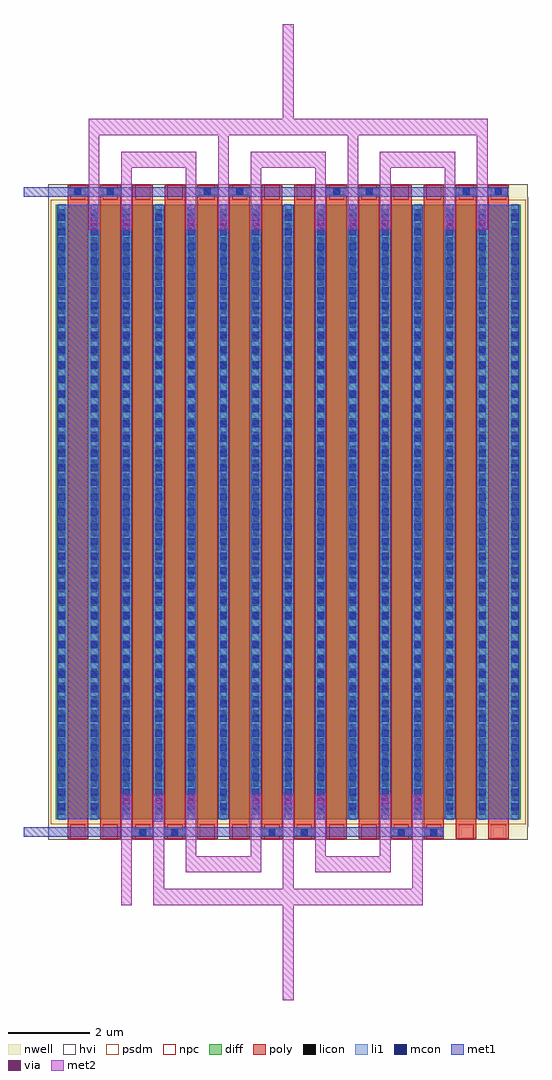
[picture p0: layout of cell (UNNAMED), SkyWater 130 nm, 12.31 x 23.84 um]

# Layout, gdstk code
import gdstk
lib = gdstk.Library(unit=1e-6, precision=1e-09)
def R(c, l, rs):  # rectangles x0, y0, x1, y1
    for r in rs: c.add(gdstk.rectangle(r[:2], r[2:], *l))
def A(c, l, x, y, w, h, nx, ny, dx, dy):  # array of equal rectangles
    R(c, l, [(x+i*dx, y+j*dy, x+i*dx+w, y+j*dy+h) for i in range(nx) for j in range(ny)])
nwell = (64, 20)
diff = (65, 20)
poly = (66, 20)
licon = (66, 44)
li1 = (67, 20)
mcon = (67, 44)
met1 = (68, 20)
via = (68, 44)
met2 = (69, 20)
hvi = (75, 20)
psdm = (94, 20)
npc = (95, 20)

c__unnamed_ = lib.new_cell('(UNNAMED)')
R(c__unnamed_, nwell, [(0,0,11.71,16)])
R(c__unnamed_, diff, [(0.18,0.5,11.53,15.5)])
A(c__unnamed_, poly, 0.47, 0.015, 0.5, 15.97, 14, 1, 0.79, 0)
A(c__unnamed_, licon, 0.24, 0.605, 0.17, 0.17, 15, 44, 0.79, 0.34)
R(c__unnamed_, licon, [(2.215,0.095,2.385,0.265), (3.005,0.095,3.175,0.265), (5.375,0.095,5.545,0.265), (6.165,0.095,6.335,0.265), (8.535,0.095,8.705,0.265), (9.325,0.095,9.495,0.265), (0.635,15.735,0.805,15.905), (1.425,15.735,1.595,15.905), (3.795,15.735,3.965,15.905), (4.585,15.735,4.755,15.905), (6.955,15.735,7.125,15.905), (7.745,15.735,7.915,15.905), (10.115,15.735,10.285,15.905), (10.905,15.735,11.075,15.905)])
A(c__unnamed_, li1, 0.24, 0.48, 0.17, 15.04, 15, 1, 0.79, 0)
R(c__unnamed_, li1, [(2.05,0.095,2.55,0.265), (2.84,0.095,3.34,0.265), (5.21,0.095,5.71,0.265), (6,0.095,6.5,0.265), (8.37,0.095,8.87,0.265), (9.16,0.095,9.66,0.265), (0.47,15.735,0.97,15.905), (1.26,15.735,1.76,15.905), (3.63,15.735,4.13,15.905), (4.42,15.735,4.92,15.905), (6.79,15.735,7.29,15.905), (7.58,15.735,8.08,15.905), (9.95,15.735,10.45,15.905), (10.74,15.735,11.24,15.905)])
A(c__unnamed_, mcon, 0.24, 0.715, 0.17, 0.17, 15, 41, 0.79, 0.36)
R(c__unnamed_, mcon, [(2.215,0.095,2.385,0.265), (3.005,0.095,3.175,0.265), (5.375,0.095,5.545,0.265), (6.165,0.095,6.335,0.265), (8.535,0.095,8.705,0.265), (9.325,0.095,9.495,0.265), (0.635,15.735,0.805,15.905), (1.425,15.735,1.595,15.905), (3.795,15.735,3.965,15.905), (4.585,15.735,4.755,15.905), (6.955,15.735,7.125,15.905), (7.745,15.735,7.915,15.905), (10.115,15.735,10.285,15.905), (10.905,15.735,11.075,15.905)])
A(c__unnamed_, met1, 3.355, 0.5, 0.26, 15, 10, 1, 0.79, 0)
R(c__unnamed_, met1, [(-0.6,0.065,9.246,0.295), (2.86,0.065,3.32,0.295), (5.23,0.065,5.69,0.295), (6.02,0.065,6.48,0.295), (8.39,0.065,8.85,0.295), (9.18,0.065,9.64,0.295), (2.565,0.436,2.825,15.5), (0.21,0.5,1.049,15.5), (0.985,0.5,1.245,15.5), (1.775,0.5,2.035,15.5), (10.652,0.5,11.5,15.5), (-0.6,15.705,10.934,15.935), (1.28,15.705,1.74,15.935), (3.65,15.705,4.11,15.935), (4.44,15.705,4.9,15.935), (6.81,15.705,7.27,15.935), (7.6,15.705,8.06,15.935), (9.97,15.705,10.43,15.935), (10.76,15.705,11.22,15.935)])
A(c__unnamed_, via, 1.83, 0.875, 0.15, 0.15, 3, 1, 0.79, 0)
A(c__unnamed_, via, 4.99, 0.875, 0.15, 0.15, 3, 1, 0.79, 0)
A(c__unnamed_, via, 3.41, 14.975, 0.15, 0.15, 3, 1, 0.79, 0)
A(c__unnamed_, via, 6.57, 14.975, 0.15, 0.15, 3, 1, 0.79, 0)
R(c__unnamed_, via, [(8.15,0.875,8.3,1.025), (8.94,0.875,9.09,1.025), (1.04,14.975,1.19,15.125), (1.83,14.975,1.98,15.125), (9.73,14.975,9.88,15.125), (10.52,14.975,10.67,15.125)])
A(c__unnamed_, met2, 2.565, -1.604, 0.26, 2.714, 3, 1, 3.16, 0)
A(c__unnamed_, met2, 3.355, -0.804, 0.26, 1.914, 4, 1, 1.58, 0)
A(c__unnamed_, met2, 0.985, 14.89, 0.26, 2.714, 4, 1, 3.16, 0)
A(c__unnamed_, met2, 1.775, 14.89, 0.26, 1.914, 6, 1, 1.58, 0)
A(c__unnamed_, met2, 1.79, 16.404, 1.81, 0.4, 3, 1, 3.16, 0)
R(c__unnamed_, met2, [(5.725,-3.918,5.985,-1.204), (1.775,-1.604,2.035,1.11), (2.58,-1.604,9.13,-1.204), (3.37,-0.804,5.18,-0.404), (6.53,-0.804,8.34,-0.404), (1,17.204,10.71,17.604), (5.725,17.204,5.985,19.918)])
R(c__unnamed_, hvi, [(0,0,11.71,0.315), (-0.005,0.315,11.715,15.685), (0,15.685,11.71,16)])
R(c__unnamed_, psdm, [(0.055,0.375,11.655,15.625)])
A(c__unnamed_, npc, 0.535, -0.005, 0.37, 0.37, 14, 2, 0.79, 15.64)
c__unnamed_.add(gdstk.FlexPath([(1.83,0.95),(1.98,0.95)], 0.15, ends="flush", simple_path=True, layer=68, datatype=20))  # met1
c__unnamed_.add(gdstk.FlexPath([(1.83,15.05),(1.98,15.05)], 0.15, ends="flush", simple_path=True, layer=68, datatype=20))  # met1
c__unnamed_.add(gdstk.FlexPath([(3.41,15.05),(3.56,15.05)], 0.15, ends="flush", simple_path=True, layer=68, datatype=20))  # met1
c__unnamed_.add(gdstk.FlexPath([(4.99,15.05),(5.14,15.05)], 0.15, ends="flush", simple_path=True, layer=68, datatype=20))  # met1
c__unnamed_.add(gdstk.FlexPath([(6.57,15.05),(6.72,15.05)], 0.15, ends="flush", simple_path=True, layer=68, datatype=20))  # met1
c__unnamed_.add(gdstk.FlexPath([(8.15,15.05),(8.3,15.05)], 0.15, ends="flush", simple_path=True, layer=68, datatype=20))  # met1
c__unnamed_.add(gdstk.FlexPath([(9.73,15.05),(9.88,15.05)], 0.15, ends="flush", simple_path=True, layer=68, datatype=20))  # met1
c__unnamed_.add(gdstk.FlexPath([(3.41,0.95),(3.56,0.95)], 0.15, ends="flush", simple_path=True, layer=68, datatype=20))  # met1
c__unnamed_.add(gdstk.FlexPath([(4.99,0.95),(5.14,0.95)], 0.15, ends="flush", simple_path=True, layer=68, datatype=20))  # met1
c__unnamed_.add(gdstk.FlexPath([(6.57,0.95),(6.72,0.95)], 0.15, ends="flush", simple_path=True, layer=68, datatype=20))  # met1
c__unnamed_.add(gdstk.FlexPath([(8.15,0.95),(8.3,0.95)], 0.15, ends="flush", simple_path=True, layer=68, datatype=20))  # met1
c__unnamed_.add(gdstk.FlexPath([(1.04,15.061),(1.19,15.061)], 0.15, ends="flush", simple_path=True, layer=68, datatype=20))  # met1
c__unnamed_.add(gdstk.FlexPath([(4.2,15.061),(4.35,15.061)], 0.15, ends="flush", simple_path=True, layer=68, datatype=20))  # met1
c__unnamed_.add(gdstk.FlexPath([(7.36,15.061),(7.51,15.061)], 0.15, ends="flush", simple_path=True, layer=68, datatype=20))  # met1
c__unnamed_.add(gdstk.FlexPath([(10.52,15.061),(10.67,15.061)], 0.15, ends="flush", simple_path=True, layer=68, datatype=20))  # met1
c__unnamed_.add(gdstk.FlexPath([(5.78,0.95),(5.93,0.95)], 0.15, ends="flush", simple_path=True, layer=68, datatype=20))  # met1
c__unnamed_.add(gdstk.FlexPath([(2.62,0.95),(2.77,0.95)], 0.15, ends="flush", simple_path=True, layer=68, datatype=20))  # met1
c__unnamed_.add(gdstk.FlexPath([(8.94,0.95),(9.09,0.95)], 0.15, ends="flush", simple_path=True, layer=68, datatype=20))  # met1
c__unnamed_.add(gdstk.FlexPath([(1.83,0.95),(1.98,0.95)], 0.15, ends="flush", simple_path=True, layer=69, datatype=20))  # met2
c__unnamed_.add(gdstk.FlexPath([(1.04,15.05),(1.19,15.05)], 0.15, ends="flush", simple_path=True, layer=69, datatype=20))  # met2
c__unnamed_.add(gdstk.FlexPath([(1.83,15.05),(1.98,15.05)], 0.15, ends="flush", simple_path=True, layer=69, datatype=20))  # met2
c__unnamed_.add(gdstk.FlexPath([(3.41,15.05),(3.56,15.05)], 0.15, ends="flush", simple_path=True, layer=69, datatype=20))  # met2
c__unnamed_.add(gdstk.FlexPath([(4.2,15.05),(4.35,15.05)], 0.15, ends="flush", simple_path=True, layer=69, datatype=20))  # met2
c__unnamed_.add(gdstk.FlexPath([(4.99,15.05),(5.14,15.05)], 0.15, ends="flush", simple_path=True, layer=69, datatype=20))  # met2
c__unnamed_.add(gdstk.FlexPath([(6.57,15.05),(6.72,15.05)], 0.15, ends="flush", simple_path=True, layer=69, datatype=20))  # met2
c__unnamed_.add(gdstk.FlexPath([(7.36,15.05),(7.51,15.05)], 0.15, ends="flush", simple_path=True, layer=69, datatype=20))  # met2
c__unnamed_.add(gdstk.FlexPath([(8.15,15.05),(8.3,15.05)], 0.15, ends="flush", simple_path=True, layer=69, datatype=20))  # met2
c__unnamed_.add(gdstk.FlexPath([(9.73,15.05),(9.88,15.05)], 0.15, ends="flush", simple_path=True, layer=69, datatype=20))  # met2
c__unnamed_.add(gdstk.FlexPath([(10.52,15.05),(10.67,15.05)], 0.15, ends="flush", simple_path=True, layer=69, datatype=20))  # met2
c__unnamed_.add(gdstk.FlexPath([(2.62,0.95),(2.77,0.95)], 0.15, ends="flush", simple_path=True, layer=69, datatype=20))  # met2
c__unnamed_.add(gdstk.FlexPath([(3.41,0.95),(3.56,0.95)], 0.15, ends="flush", simple_path=True, layer=69, datatype=20))  # met2
c__unnamed_.add(gdstk.FlexPath([(4.99,0.95),(5.14,0.95)], 0.15, ends="flush", simple_path=True, layer=69, datatype=20))  # met2
c__unnamed_.add(gdstk.FlexPath([(5.78,0.95),(5.93,0.95)], 0.15, ends="flush", simple_path=True, layer=69, datatype=20))  # met2
c__unnamed_.add(gdstk.FlexPath([(6.57,0.95),(6.72,0.95)], 0.15, ends="flush", simple_path=True, layer=69, datatype=20))  # met2
c__unnamed_.add(gdstk.FlexPath([(8.15,0.95),(8.3,0.95)], 0.15, ends="flush", simple_path=True, layer=69, datatype=20))  # met2
c__unnamed_.add(gdstk.FlexPath([(8.94,0.95),(9.09,0.95)], 0.15, ends="flush", simple_path=True, layer=69, datatype=20))  # met2
c__unnamed_.add(gdstk.Label('D1', (5.758,22.034), layer=67, texttype=20))
c__unnamed_.add(gdstk.Label('D2', (5.778,-6.018), layer=67, texttype=20))
c__unnamed_.add(gdstk.Label('S', (1.999,-6.018), layer=67, texttype=20))
c__unnamed_.add(gdstk.Label('G1', (-2.841,15.785), layer=67, texttype=20))
c__unnamed_.add(gdstk.Label('G2', (-1.631,0.072), layer=67, texttype=20))

lib.write_gds('_UNNAMED_.gds')
